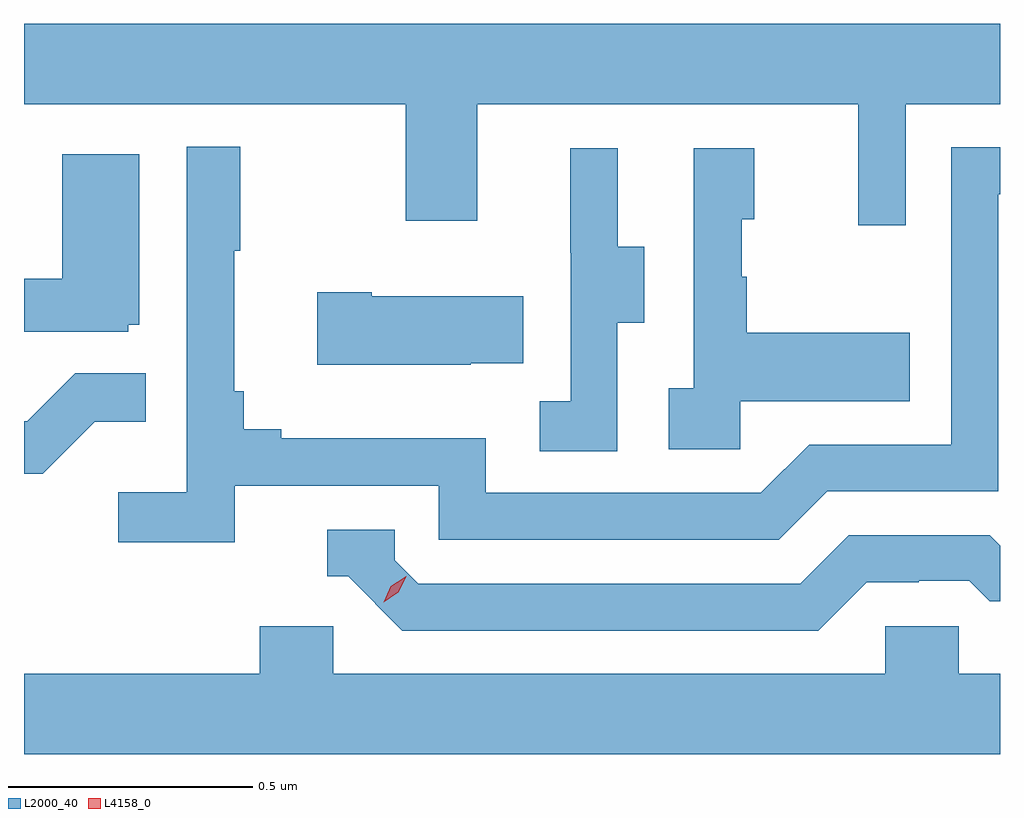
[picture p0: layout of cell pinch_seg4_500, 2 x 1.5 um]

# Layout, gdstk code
import gdstk
lib = gdstk.Library(unit=1e-6, precision=1e-09)
def P(c, l, *ps):  # polygons
    for p in ps: c.add(gdstk.Polygon(p, *l))
L2000_40 = (2000, 40)
L4158_0 = (4158, 0)

pinch_seg4_500 = lib.new_cell('pinch_seg4_500')
P(pinch_seg4_500, L2000_40, [(940.299,766.184),(940.492,766.184),(940.492,766.348),(938.492,766.348),(938.492,766.184),(939.274,766.184),(939.274,765.945),(939.421,765.945),(939.421,766.184),(940.202,766.184),(940.202,765.936),(940.299,765.936)],
  [(938.924,765.402),(939.342,765.402),(939.342,765.291),(940.039,765.291),(940.138,765.39),(940.488,765.39),(940.488,765.999),(940.492,765.999),(940.492,766.095),(940.392,766.095),(940.392,765.486),(940.101,765.486),(940.002,765.387),(939.438,765.387),(939.438,765.499),(939.019,765.499),(939.019,765.518),(938.942,765.518),(938.942,765.595),(938.923,765.595),(938.923,765.883),(938.935,765.883),(938.935,766.096),(938.826,766.096),(938.826,765.388),(938.685,765.388),(938.685,765.286),(938.924,765.286)],
  [(939.708,765.736),(939.763,765.736),(939.763,765.891),(939.709,765.891),(939.709,766.093),(939.611,766.093),(939.611,765.879),(939.612,765.879),(939.612,765.575),(939.549,765.575),(939.549,765.472),(939.708,765.472)],
  [(939.96,765.575),(940.307,765.575),(940.307,765.715),(939.973,765.715),(939.973,765.83),(939.963,765.83),(939.963,765.948),(939.988,765.948),(939.988,766.093),(939.864,766.093),(939.864,765.602),(939.813,765.602),(939.813,765.477),(939.96,765.477)],
  [(938.706,765.732),(938.728,765.732),(938.728,766.081),(938.57,766.081),(938.57,765.826),(938.492,765.826),(938.492,765.717),(938.706,765.717)],
  [(939.407,765.653),(939.515,765.653),(939.515,765.79),(939.205,765.79),(939.205,765.798),(939.093,765.798),(939.093,765.65),(939.407,765.65)],
  [(938.637,765.533),(938.741,765.533),(938.741,765.632),(938.597,765.632),(938.499,765.534),(938.492,765.534),(938.492,765.426),(938.53,765.426)],
  [(940.219,765.204),(940.326,765.204),(940.326,765.207),(940.429,765.207),(940.471,765.165),(940.492,765.165),(940.492,765.279),(940.471,765.3),(940.182,765.3),(940.083,765.201),(939.3,765.201),(939.252,765.249),(939.252,765.312),(939.113,765.312),(939.113,765.216),(939.156,765.216),(939.267,765.105),(940.12,765.105)],
  [(940.492,765.016),(940.407,765.016),(940.407,765.114),(940.257,765.114),(940.257,765.016),(939.126,765.016),(939.126,765.114),(938.975,765.114),(938.975,765.016),(938.492,765.016),(938.492,764.852),(940.492,764.852)])
P(pinch_seg4_500, L4158_0, [(939.229,765.163),(939.229,765.163),(939.244,765.196),(939.275,765.216),(939.275,765.216),(939.275,765.215),(939.259,765.183),(939.229,765.163)])

lib.write_gds('pinch_seg4_500.gds')
